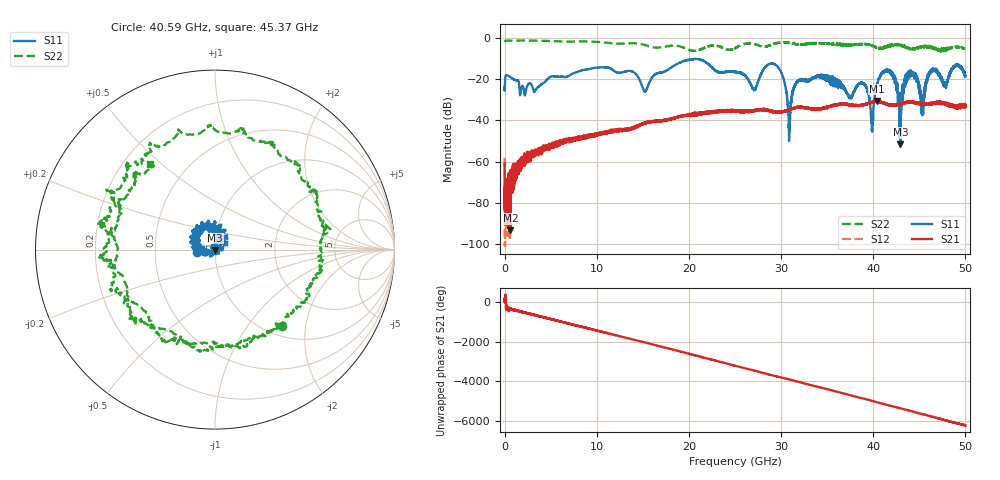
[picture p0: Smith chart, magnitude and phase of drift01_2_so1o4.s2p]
!Created with skrf (http://scikit-rf.org).
# Hz S RI R 50.0
!freq ReS11 ImS11 ReS21 ImS21 ReS12 ImS12 ReS22 ImS22
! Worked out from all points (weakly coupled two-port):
!   10001 points, 300 kHz to 50 GHz, reference 50 ohm
!   highest |S21| = -30.60 dB at 40.36 GHz (marker M1); lowest = -93.1 dB at 625.3 MHz (marker M2)
!   lowest |S11| = -51.6 dB at 42.96 GHz (marker M3), VSWR 1.01, Z = 50.1 - j0.244 ohm
!   |S11| at or under -10 dB: start of sweep to end of sweep
!   |S22| runs from -6.9 to -1.4 dB; largest |S21 - S12| = 0.004
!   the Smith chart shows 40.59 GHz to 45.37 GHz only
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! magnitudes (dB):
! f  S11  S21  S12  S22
! 300 kHz  -23.8  -60.8  -58.2  -2.2
! 625.3 MHz  -19.0  -93.1  -65.1  -1.5
! 3.31 GHz  -25.6  -55.6  -54.9  -1.5
! 8.335 GHz  -15.9  -48.3  -48.5  -1.8
! 13.78 GHz  -16.2  -43.9  -43.7  -2.7
! 15.23 GHz  -26.0  -41.1  -41.4  -3.6
! 16.67 GHz  -17.0  -40.0  -40.1  -4.8
! 25 GHz  -16.7  -35.6  -35.4  -5.2
! 27.11 GHz  -25.2  -35.2  -34.9  -3.2
! 29.41 GHz  -13.2  -36.1  -36.0  -2.7
! 30.91 GHz  -44.8  -35.1  -34.7  -2.5
! 31.66 GHz  -21.8  -33.6  -33.7  -3.2
! 33.34 GHz  -19.9  -34.4  -34.5  -2.7
! 38.92 GHz  -22.2  -32.4  -32.6  -3.0
! 39.83 GHz  -40.1  -31.5  -31.2  -3.8
! 40.36 GHz  -23.8  -30.6  -30.8  -4.8
! 41.67 GHz  -16.5  -32.2  -32.4  -4.4
! 42.96 GHz  -51.6  -32.0  -32.0  -3.9
! 44.03 GHz  -17.1  -30.8  -31.2  -5.5
! 45.32 GHz  -36.6  -31.9  -31.9  -4.7
! 46.42 GHz  -15.2  -31.7  -32.0  -4.5
! 50 GHz  -18.7  -33.4  -32.8  -5.5
